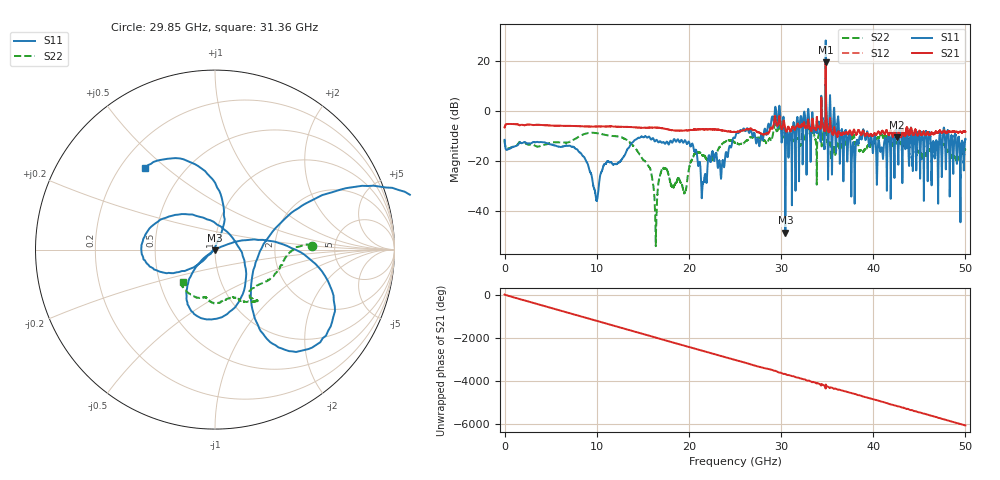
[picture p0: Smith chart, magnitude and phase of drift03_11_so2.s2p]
!Created with skrf (http://scikit-rf.org).
# Hz S RI R 50.0
!freq ReS11 ImS11 ReS21 ImS21 ReS12 ImS12 ReS22 ImS22
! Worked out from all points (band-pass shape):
!   10001 points, 300 kHz to 50 GHz, reference 50 ohm
!   highest |S21| = 19.61 dB at 34.85 GHz (marker M1); lowest = -10.5 dB at 42.55 GHz (marker M2)
!   |S21| within 3 dB of the highest: 34.8427 GHz to 34.84747 GHz (4.771 MHz wide, 0.0137 % of centre)
!   lowest |S11| = -48.6 dB at 30.47 GHz (marker M3), VSWR 1.01, Z = 49.9 - j0.343 ohm
!   |S11| at or under -10 dB: start of sweep to 15.22 GHz; 15.32 GHz to 25.05 GHz (9.732 GHz wide, 48.2 % of centre); 40.23 GHz to 41.64 GHz (1.418 GHz wide, 3.46 % of centre) (the widest 3 of 59)
!   |S22| runs from -54.0 to 11.0 dB; largest |S21 - S12| = 1.4
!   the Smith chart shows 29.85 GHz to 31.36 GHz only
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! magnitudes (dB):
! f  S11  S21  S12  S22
! 300 kHz  -11.4  -6.4  -6.4  -11.4
! 8.335 GHz  -17.1  -6.0  -6.0  -9.6
! 9.955 GHz  -35.6  -6.1  -6.1  -8.7
! 11 GHz  -20.9  -6.0  -6.0  -9.5
! 13.9 GHz  -12.4  -6.3  -6.3  -13.6
! 16.35 GHz  -11.9  -6.5  -6.5  -42.9
! 16.67 GHz  -12.4  -6.5  -6.5  -29.4
! 17.32 GHz  -12.6  -6.9  -6.9  -22.8
! 19.54 GHz  -11.8  -7.7  -7.7  -32.6
! 20.21 GHz  -14.0  -7.5  -7.5  -20.1
! 21.55 GHz  -28.3  -7.2  -7.2  -17.7
! 25 GHz  -10.6  -8.3  -8.2  -12.5
! 29.6 GHz  -5.6  -5.7  -5.9  -7.8
! 30.47 GHz  -48.6  -7.2  -7.2  -9.0
! 33.34 GHz  -3.8  -6.9  -6.9  -9.4
! 34.85 GHz  28.4  19.6  19.5  11.0
! 35.64 GHz  -5.8  -9.2  -9.0  -15.5
! 37.81 GHz  -12.6  -8.4  -8.5  -10.2
! 38.81 GHz  -9.9  -8.5  -8.4  -16.0
! 41.67 GHz  -9.6  -9.5  -9.5  -11.8
! 42.55 GHz  -8.4  -10.5  -10.4  -12.9
! 50 GHz  -11.2  -8.2  -8.2  -15.4
